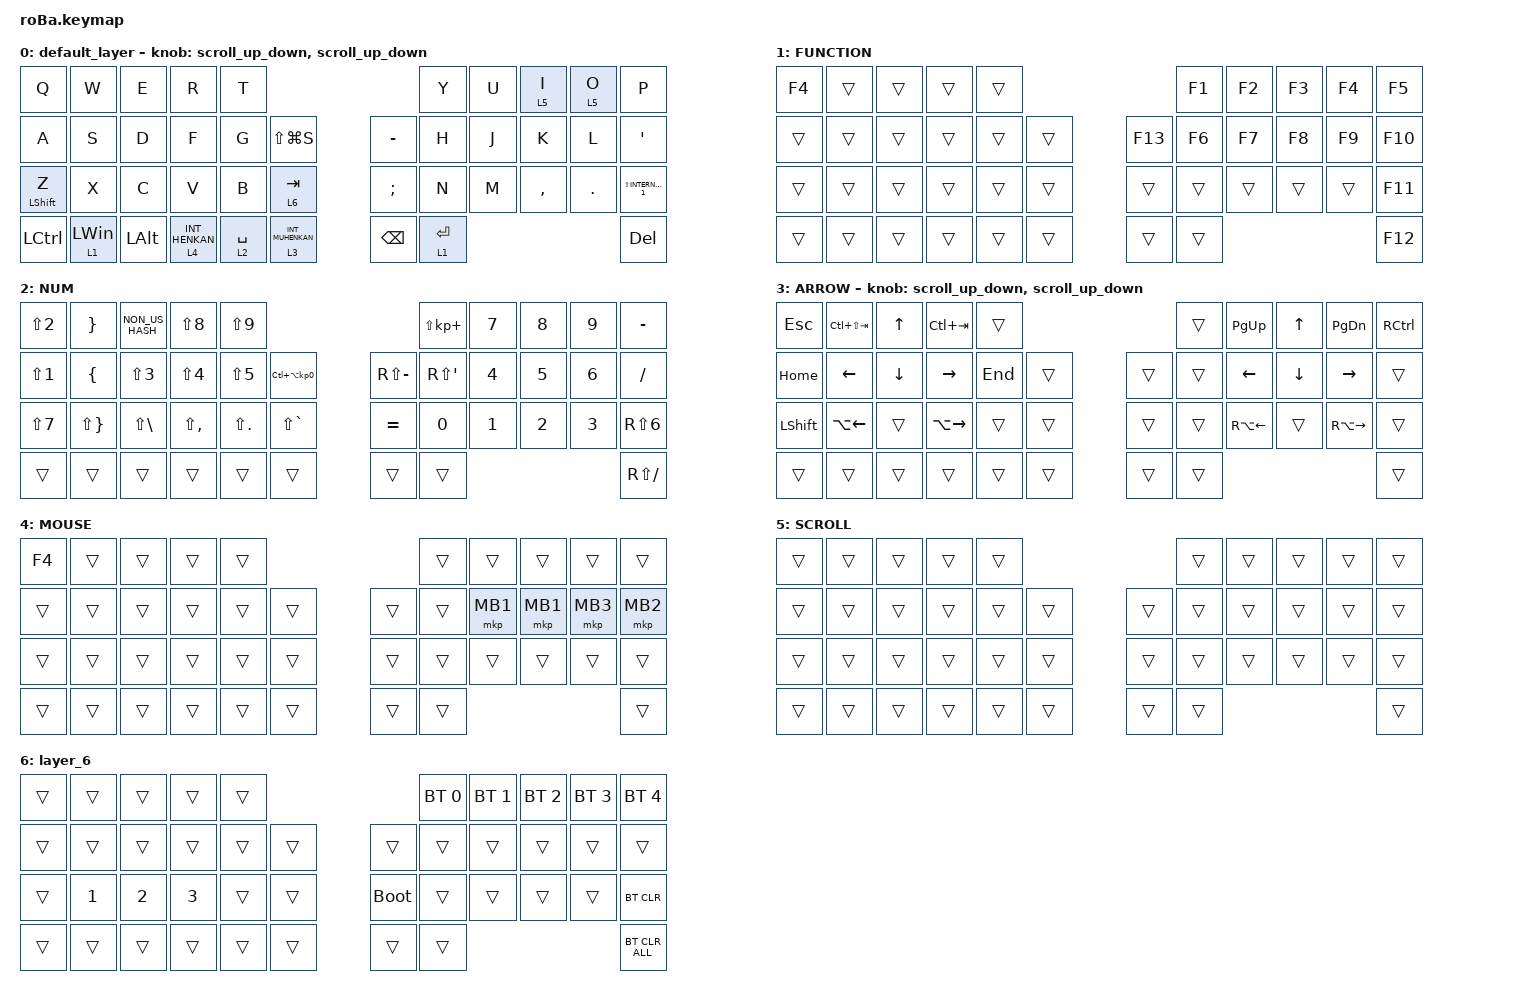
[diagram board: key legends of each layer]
#include <behaviors.dtsi>
#include <dt-bindings/zmk/bt.h>
#include <dt-bindings/zmk/keys.h>
#include <dt-bindings/zmk/pointing.h>

#define MOUSE 4
#define SCROLL 5
#define NUM 6
#define ZMK_POINTING_DEFAULT_SCRL_VAL 100

&mt {
    flavor = "balanced";
    quick-tap-ms = <0>;
};

/ {
    combos {
        compatible = "zmk,combos";

        tab {
            bindings = <&kp TAB>;
            key-positions = <11 12>;
        };

        shift_tab {
            bindings = <&kp LS(TAB)>;
            key-positions = <12 13>;
        };

        muhennkann {
            bindings = <&to_layer_0 INT_MUHENKAN>;
            key-positions = <11 10>;
        };

        double_quotation {
            bindings = <&kp DOUBLE_QUOTES>;
            key-positions = <20 21>;
        };

        eq {
            bindings = <&kp EQUAL>;
            key-positions = <24 25>;
        };
    };

    macros {
        to_layer_0: to_layer_0 {
            compatible = "zmk,behavior-macro-one-param";
            #binding-cells = <1>;
            bindings = <&to 0 &macro_param_1to1 &kp MACRO_PLACEHOLDER>;
            label = "TO_LAYER_0";
        };
    };

    behaviors {
        lt_to_layer_0: lt_to_layer_0 {
            compatible = "zmk,behavior-hold-tap";
            label = "LAYER_TAP_TO_0";
            bindings = <&mo>, <&to_layer_0>;

            #binding-cells = <2>;
            tapping-term-ms = <200>;
        };

        scroll_up_down: behavior_sensor_rotate_mouse_wheel_up_down {
            compatible = "zmk,behavior-sensor-rotate";
            #sensor-binding-cells = <0>;
            bindings = <&msc SCRL_UP>, <&msc SCRL_DOWN>;

            tap-ms = <20>;
        };
    };

    keymap {
        compatible = "zmk,keymap";

        default_layer {
            bindings = <
&kp Q             &kp W           &kp E         &kp R                        &kp T                                                          &kp Y        &kp U  &lt 5 I    &lt 5 O  &kp P
&kp A             &kp S           &kp D         &kp F                        &kp G        &kp LS(LG(S))                      &kp MINUS      &kp H        &kp J  &kp K      &kp L    &kp SQT
&mt LEFT_SHIFT Z  &kp X           &kp C         &kp V                        &kp B        &lt 6 TAB                          &kp SEMICOLON  &kp N        &kp M  &kp COMMA  &kp DOT  &kp LS(INTERNATIONAL_1)
&kp LCTRL         &lt 1 LEFT_WIN  &kp LEFT_ALT  &lt_to_layer_0 4 INT_HENKAN  &lt 2 SPACE  &lt_to_layer_0 3 INT_MUHENKAN      &kp BACKSPACE  &lt 1 ENTER                             &kp DEL
            >;

            sensor-bindings = <&scroll_up_down>, <&scroll_up_down>;
        };

        FUNCTION {
            bindings = <
&kp F4  &trans  &trans  &trans  &trans                       &kp F1  &kp F2  &kp F3  &kp F4  &kp F5
&trans  &trans  &trans  &trans  &trans  &trans      &kp F13  &kp F6  &kp F7  &kp F8  &kp F9  &kp F10
&trans  &trans  &trans  &trans  &trans  &trans      &trans   &trans  &trans  &trans  &trans  &kp F11
&trans  &trans  &trans  &trans  &trans  &trans      &trans   &trans                          &kp F12
            >;
        };

        NUM {
            bindings = <
&kp LS(NUMBER_2)  &kp RIGHT_BRACE      &kp NON_US_HASH   &kp LS(NUMBER_8)  &kp LS(NUMBER_9)                                              &kp LS(KP_PLUS)  &kp NUMBER_7  &kp NUMBER_8  &kp NUMBER_9  &kp MINUS
&kp LS(NUMBER_1)  &kp LEFT_BRACE       &kp LS(NUMBER_3)  &kp LS(NUMBER_4)  &kp LS(NUMBER_5)  &kp LC(LA(KP_NUMBER_0))      &kp RS(MINUS)  &kp RS(APOS)     &kp NUMBER_4  &kp NUMBER_5  &kp NUMBER_6  &kp SLASH
&kp LS(NUMBER_7)  &kp LS(RIGHT_BRACE)  &kp LS(BSLH)      &kp LS(COMMA)     &kp LS(PERIOD)    &kp LS(GRAVE)                &kp EQUAL      &kp NUMBER_0     &kp NUMBER_1  &kp NUMBER_2  &kp NUMBER_3  &kp RS(NUMBER_6)
&trans            &trans               &trans            &trans            &trans            &trans                       &trans         &trans                                                     &kp RS(SLASH)
            >;
        };

        ARROW {
            bindings = <
&kp ESCAPE      &kp LC(LS(TAB))     &kp UP_ARROW    &kp LC(TAB)          &trans                       &trans  &kp PAGE_UP         &kp UP_ARROW    &kp PAGE_DOWN        &kp RIGHT_CONTROL
&kp HOME        &kp LEFT_ARROW      &kp DOWN_ARROW  &kp RIGHT_ARROW      &kp END  &trans      &trans  &trans  &kp LEFT_ARROW      &kp DOWN_ARROW  &kp RIGHT_ARROW      &trans
&kp LEFT_SHIFT  &kp LA(LEFT_ARROW)  &trans          &kp LA(RIGHT_ARROW)  &trans   &trans      &trans  &trans  &kp RA(LEFT_ARROW)  &trans          &kp RA(RIGHT_ARROW)  &trans
&trans          &trans              &trans          &trans               &trans   &trans      &trans  &trans                                                           &trans
            >;

            sensor-bindings = <&scroll_up_down>, <&scroll_up_down>;
        };

        MOUSE {
            bindings = <
&kp F4  &trans  &trans  &trans  &trans                      &trans  &trans    &trans    &trans    &trans
&trans  &trans  &trans  &trans  &trans  &trans      &trans  &trans  &mkp MB1  &mkp MB1  &mkp MB3  &mkp MB2
&trans  &trans  &trans  &trans  &trans  &trans      &trans  &trans  &trans    &trans    &trans    &trans
&trans  &trans  &trans  &trans  &trans  &trans      &trans  &trans                                &trans
            >;
        };

        SCROLL {
            bindings = <
&trans  &trans  &trans  &trans  &trans                      &trans  &trans  &trans  &trans  &trans
&trans  &trans  &trans  &trans  &trans  &trans      &trans  &trans  &trans  &trans  &trans  &trans
&trans  &trans  &trans  &trans  &trans  &trans      &trans  &trans  &trans  &trans  &trans  &trans
&trans  &trans  &trans  &trans  &trans  &trans      &trans  &trans                          &trans
            >;
        };

        layer_6 {
            bindings = <
&trans  &trans        &trans        &trans        &trans                           &bt BT_SEL 0  &bt BT_SEL 1  &bt BT_SEL 2  &bt BT_SEL 3  &bt BT_SEL 4
&trans  &trans        &trans        &trans        &trans  &trans      &trans       &trans        &trans        &trans        &trans        &trans
&trans  &kp NUMBER_1  &kp NUMBER_2  &kp NUMBER_3  &trans  &trans      &bootloader  &trans        &trans        &trans        &trans        &bt BT_CLR
&trans  &trans        &trans        &trans        &trans  &trans      &trans       &trans                                                  &bt BT_CLR_ALL
            >;
        };
    };
};
